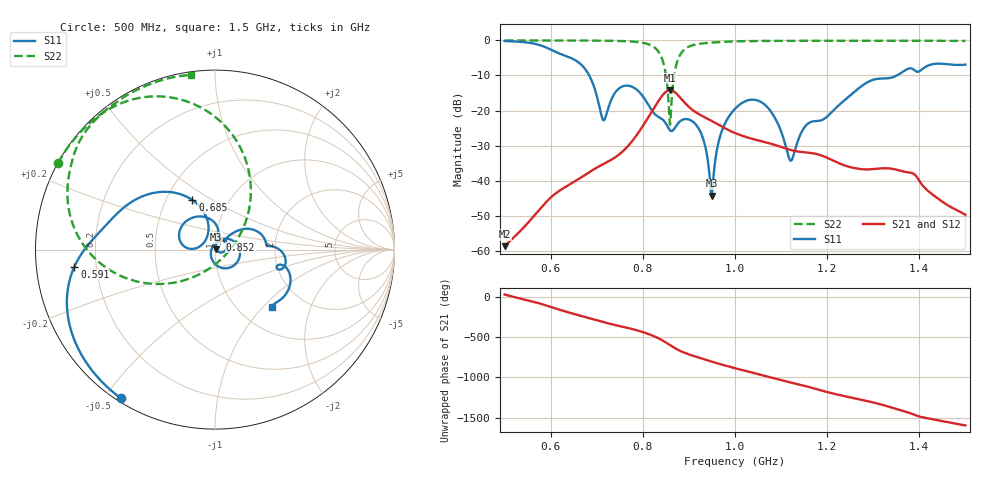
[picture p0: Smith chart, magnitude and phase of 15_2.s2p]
! TOUCHSTONE file generated by CST MICROWAVE STUDIO
! Date and time: Wed Oct 28 19:36:20 2020
! Project name: Scenario_1_Circular_Tissue_out_of_Line_v2.cst
! Parameters = {dy1=-103.8; L_HA=400; MT=2.54; Rad_Dielectric=30; Rad_Lower=7.3; Rad_Upper=30; a_HA=580; a_WG=246; b_HA=500; b_WG=121; c_HA=0; c_WG=187; d_feed=85; dx1=346; h_feed=15; h_lower=18; h_upper=40}
! Header version: 2018
! Port assignment regex: !\s*Touchstone port\s*([0-9]+)\s*=\s*(CST MWS port|CST DS port)\s*([0-9]+|Zmin|Zmax)\s*\(\"(.*)\"\)(\s*mode\s*([0-9]+))?.*
! Touchstone port assignment:
! Touchstone port 1 = CST MWS port 1 ("")
! Touchstone port 2 = CST MWS port 2 ("")
# GHz S DB R 50
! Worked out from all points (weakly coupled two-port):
!   1003 points, 500 MHz to 1.5 GHz, reference 50 ohm
!   highest |S21| = -14.14 dB at 859 MHz (marker M1); lowest = -58.7 dB at 500 MHz (marker M2)
!   lowest |S11| = -44.3 dB at 949 MHz (marker M3), VSWR 1.01, Z = 50.6 + j0.204 ohm
!   |S11| at or under -10 dB: 683.6 MHz to 1.351 GHz (667.5 MHz wide, 65.6 % of centre)
!   |S22| runs from -24.0 to 0.0 dB; largest |S21 - S12| = 2.8e-05
!   S11 on the Smith chart (normalised r, x): 500 MHz: 0.01, -0.55; 591 MHz: 0.12, -0.06; 685 MHz: 0.68, +0.41; 852 MHz: 1.05, +0.12; 1.5 GHz: 1.40, -1.13
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0.5  -0.17 -122.3  -58.70 28.5  -58.70 28.5  -0.01 151.1
0.591  -2.06 -173.1  -45.99 -108.1  -45.99 -108.1  -0.02 144.8
0.667  -7.00 134.1  -39.02 121.5  -39.02 121.5  -0.04 138.3
0.685  -10.35 114.5  -37.48 92.7  -37.48 92.7  -0.05 136.5
0.714  -22.71 138.9  -35.29 46.6  -35.29 46.6  -0.08 133.1
0.765  -12.89 142.2  -30.52 -23.2  -30.52 -23.2  -0.23 124.3
0.812  -18.39 82.6  -21.91 -100.9  -21.91 -100.9  -1.09 106.1
0.834  -21.82 76.3  -17.27 -155.2  -17.27 -155.2  -3.22 85.3
0.852  -24.14 63.8  -14.46 146.0  -14.46 146.0  -11.72 45.9
0.859  -25.63 66.2  -14.14 120.2  -14.14 120.2  -24.05 -45.9
0.878  -23.41 67.9  -15.87 57.1  -15.87 57.1  -4.87 -166.6
0.917  -24.33 -0.7  -20.66 -26.0  -20.66 -26.0  -1.09 158.8
0.934  -29.50 -28.8  -21.91 -56.5  -21.91 -56.5  -0.79 152.9
0.949  -44.32 19.4  -22.94 -83.3  -22.94 -83.3  -0.61 149.2
0.969  -26.77 70.9  -24.41 -117.5  -24.41 -117.5  -0.44 145.3
1  -19.53 30.8  -26.42 -165.5  -26.42 -165.5  -0.27 140.4
1.066  -18.49 -61.4  -29.04 96.8  -29.05 96.8  -0.15 132.8
1.121  -34.33 159.1  -31.27 16.4  -31.27 16.4  -0.12 127.9
1.167  -23.16 40.2  -32.15 -49.5  -32.15 -49.5  -0.10 124.2
1.334  -10.76 4.2  -36.51 75.9  -36.51 75.9  -0.08 111.5
1.387  -8.25 -16.3  -37.99 -18.4  -37.97 -18.4  -0.09 107.3
1.5  -6.90 -45.4  -49.72 -156.6  -49.73 -156.7  -0.14 97.9
